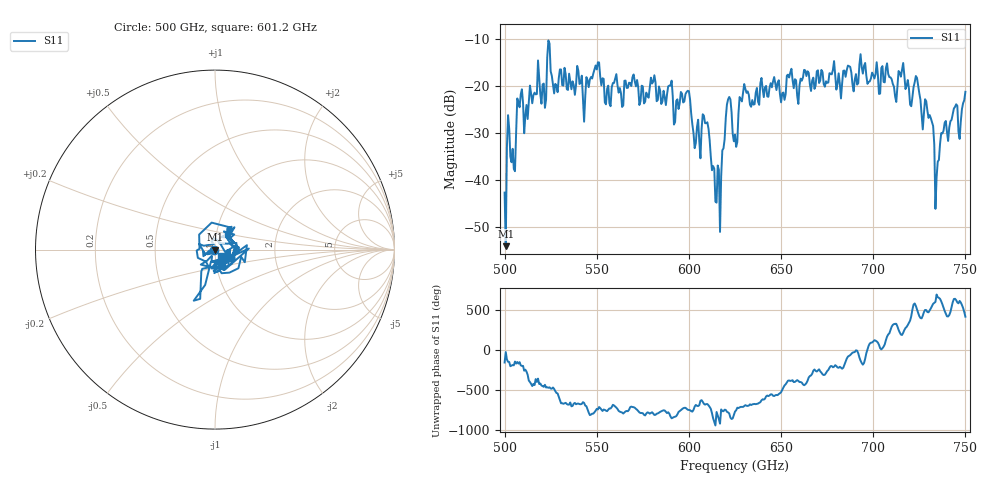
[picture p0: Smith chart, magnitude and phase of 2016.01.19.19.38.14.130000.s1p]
!Created with skrf (http://scikit-rf.org).
# GHz S RI R 50.0
!freq ReS11 ImS11
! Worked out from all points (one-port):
!   401 points, 500 GHz to 750 GHz, reference 50 ohm
!   lowest |S11| = -54.1 dB at 500.6 GHz (marker M1), VSWR 1.00, Z = 50.2 - j0.0859 ohm
!   |S11| at or under -10 dB: start of sweep to end of sweep
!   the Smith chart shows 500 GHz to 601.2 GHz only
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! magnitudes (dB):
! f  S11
! 500 GHz  -42.7
! 500.6 GHz  -54.1
! 502.5 GHz  -29.1
! 505 GHz  -37.6
! 508.1 GHz  -24.5
! 521.2 GHz  -19.4
! 524.4 GHz  -10.9
! 527.5 GHz  -19.5
! 531.2 GHz  -19.8
! 543.8 GHz  -22.3
! 550 GHz  -16.4
! 562.5 GHz  -20.4
! 580.6 GHz  -19.0
! 593.8 GHz  -22.8
! 599.4 GHz  -21.0
! 605 GHz  -27.1
! 608.8 GHz  -27.9
! 615.6 GHz  -36.9
! 621.2 GHz  -22.8
! 625 GHz  -30.3
! 630.6 GHz  -20.5
! 656.2 GHz  -18.7
! 687.5 GHz  -15.9
! 718.8 GHz  -18.7
! 729.4 GHz  -25.2
! 734.4 GHz  -39.4
! 738.1 GHz  -29.5
! 750 GHz  -21.2
